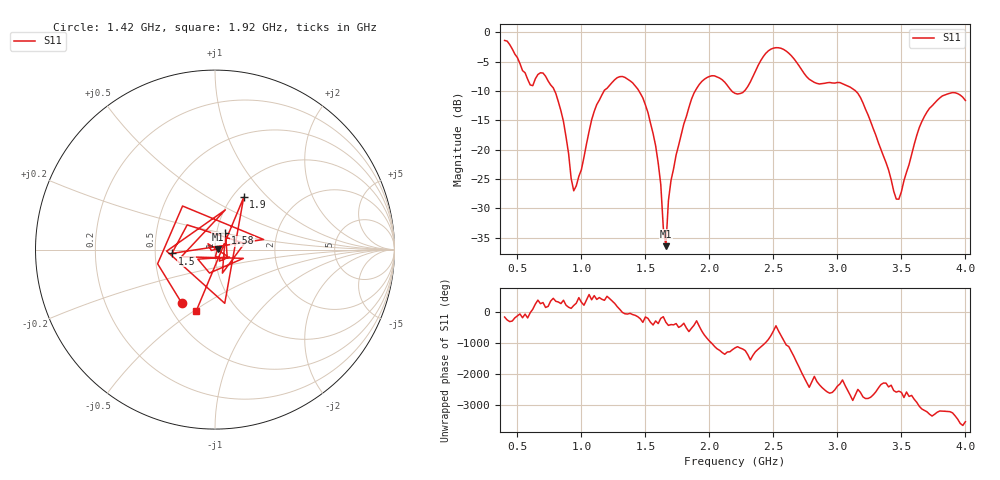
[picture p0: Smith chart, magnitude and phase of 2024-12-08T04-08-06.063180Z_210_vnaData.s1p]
!Created with skrf (http://scikit-rf.org).
# Hz S RI R 50.0
!freq ReS11 ImS11
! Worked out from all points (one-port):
!   181 points, 400 MHz to 4 GHz, reference 50 ohm
!   lowest |S11| = -36.4 dB at 1.66 GHz (marker M1), VSWR 1.03, Z = 51.5 + j0.356 ohm
!   |S11| at or under -10 dB: 791.5 MHz to 1.177 GHz (385 MHz wide, 39.1 % of centre); 1.45 GHz to 1.889 GHz (439.1 MHz wide, 26.3 % of centre); 3.143 GHz to end of sweep (the widest 3 of 4)
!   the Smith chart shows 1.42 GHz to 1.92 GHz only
!   S11 on the Smith chart (normalised r, x): 1.42 GHz: 0.59, -0.40; 1.5 GHz: 0.61, -0.03; 1.58 GHz: 1.10, +0.20; 1.9 GHz: 1.13, +0.74; 1.92 GHz: 0.65, -0.51
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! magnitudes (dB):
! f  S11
! 400 MHz  -1.4
! 600 MHz  -9.0
! 720 MHz  -7.5
! 860 MHz  -15.2
! 940 MHz  -27.0
! 1.12 GHz  -12.3
! 1.3 GHz  -7.5
! 1.42 GHz  -9.1
! 1.5 GHz  -12.4
! 1.58 GHz  -19.3
! 1.62 GHz  -25.9
! 1.64 GHz  -33.4
! 1.66 GHz  -36.4
! 1.68 GHz  -28.7
! 1.76 GHz  -19.2
! 1.9 GHz  -9.6
! 1.92 GHz  -8.9
! 2.04 GHz  -7.4
! 2.2 GHz  -10.4
! 2.48 GHz  -2.9
! 2.66 GHz  -4.5
! 2.82 GHz  -8.5
! 3.1 GHz  -9.3
! 3.24 GHz  -14.1
! 3.46 GHz  -28.4
! 3.56 GHz  -22.5
! 3.72 GHz  -12.9
! 4 GHz  -11.6
